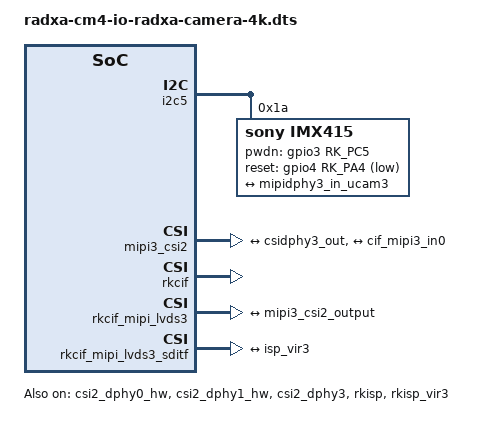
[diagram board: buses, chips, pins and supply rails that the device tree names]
/dts-v1/;
/plugin/;

#include <dt-bindings/clock/rockchip,rk3576-cru.h>
#include <dt-bindings/power/rk3576-power.h>
#include <dt-bindings/gpio/gpio.h>
#include <dt-bindings/pinctrl/rockchip.h>

/ {
	metadata {
		title ="Enable Radxa Camera 4K";
		compatible = "radxa,cm4-io";
		category = "camera";
		exclusive = "GPIO3_C5", "GPIO4_A4", "csi2_dphy3", "i2c5";
		description = "Enable Radxa Camera 4K.";
	};
};

&i2c5 {
	status = "okay";
	pinctrl-0 = <&i2c5m3_xfer>;
	#address-cells = <1>;
	#size-cells = <0>;

	imx415: imx415@1a {
		status = "okay";
		compatible = "sony,imx415";
		reg = <0x1a>;
		clocks = <&cru CLK_MIPI_CAMERAOUT_M2>;
		clock-names = "xvclk";
		pinctrl-names = "default";
		pinctrl-0 = <&cam_clk2m0_clk2>;
		power-domains = <&power RK3576_PD_VI>;
		pwdn-gpios = <&gpio3 RK_PC5 GPIO_ACTIVE_HIGH>;
		reset-gpios = <&gpio4 RK_PA4 GPIO_ACTIVE_LOW>;
		rockchip,camera-module-index = <2>;
		rockchip,camera-module-facing = "back";
		rockchip,camera-module-name = "RADXA-CAMERA-4K";
		rockchip,camera-module-lens-name = "DEFAULT";

		port {
			imx415_out0: endpoint {
				remote-endpoint = <&mipidphy3_in_ucam3>;
				data-lanes = <1 2 3 4>;
			};
		};
	};
};

&csi2_dphy0_hw {
	status = "okay";
};

&csi2_dphy1_hw {
	status = "okay";
};

&csi2_dphy3 {
	status = "okay";

	ports {
		#address-cells = <1>;
		#size-cells = <0>;

		port@0 {
			reg = <0>;
			#address-cells = <1>;
			#size-cells = <0>;

			mipidphy3_in_ucam3: endpoint@1 {
				reg = <1>;
				remote-endpoint = <&imx415_out0>;
				data-lanes = <1 2 3 4>;
			};
		};

		port@1 {
			reg = <1>;
			#address-cells = <1>;
			#size-cells = <0>;

			csidphy3_out: endpoint@0 {
				reg = <0>;
				remote-endpoint = <&mipi3_csi2_input>;
			};
		};
	};
};

&mipi3_csi2 {
	status = "okay";

	ports {
		#address-cells = <1>;
		#size-cells = <0>;

		port@0 {
			reg = <0>;
			#address-cells = <1>;
			#size-cells = <0>;

			mipi3_csi2_input: endpoint@1 {
				reg = <1>;
				remote-endpoint = <&csidphy3_out>;
			};
		};

		port@1 {
			reg = <1>;
			#address-cells = <1>;
			#size-cells = <0>;

			mipi3_csi2_output: endpoint@0 {
				reg = <0>;
				remote-endpoint = <&cif_mipi3_in0>;
			};
		};
	};
};

&rkcif {
	status = "okay";
};

&rkcif_mmu {
	status = "okay";
};

&rkcif_mipi_lvds3 {
	status = "okay";

	port {
		cif_mipi3_in0: endpoint {
			remote-endpoint = <&mipi3_csi2_output>;
		};
	};
};

&rkcif_mipi_lvds3_sditf {
	status = "okay";

	port {
		mipi_lvds3_sditf: endpoint {
			remote-endpoint = <&isp_vir3>;
		};
	};
};

&rkisp {
	status = "okay";
};

&rkisp_mmu {
	status = "okay";
};

&rkisp_vir3 {
	status = "okay";

	port {
		#address-cells = <1>;
		#size-cells = <0>;

		isp_vir3: endpoint@0 {
			reg = <0>;
			remote-endpoint = <&mipi_lvds3_sditf>;
		};
	};
};
